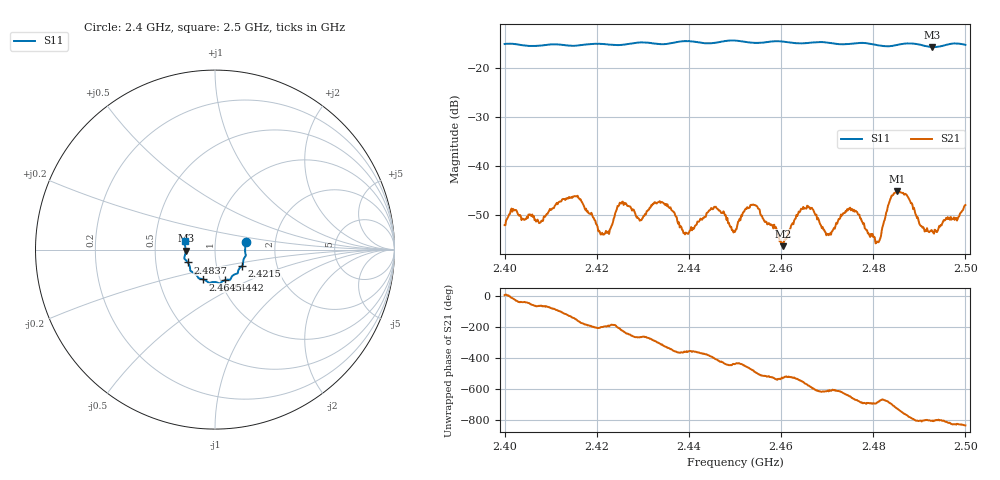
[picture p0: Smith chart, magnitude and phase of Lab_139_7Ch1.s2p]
# Hz S RI R 50
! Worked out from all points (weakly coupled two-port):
!   601 points, 2.4 GHz to 2.5 GHz, reference 50 ohm
!   highest |S21| = -45.12 dB at 2.4852 GHz (marker M1); lowest = -56.4 dB at 2.4605 GHz (marker M2)
!   lowest |S11| = -15.7 dB at 2.4928 GHz (marker M3), VSWR 1.39, Z = 36 - j0.385 ohm
!   |S11| at or under -10 dB: start of sweep to end of sweep
!   S12 and S22 are empty: the file has one direction only
!   S11 on the Smith chart (normalised r, x): 2.4 GHz: 1.41, +0.12; 2.4215 GHz: 1.33, -0.25; 2.4442 GHz: 1.05, -0.37; 2.4645 GHz: 0.83, -0.29; 2.4837 GHz: 0.73, -0.11; 2.5 GHz: 0.71, +0.07
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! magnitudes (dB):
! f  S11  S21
! 2.4 GHz  -15.1  -52.1
! 2.4018 GHz  -15.1  -48.8
! 2.4167 GHz  -15.3  -47.2
! 2.4215 GHz  -15.1  -54.0
! 2.4252 GHz  -15.3  -47.6
! 2.4295 GHz  -14.8  -51.0
! 2.4333 GHz  -15.1  -47.4
! 2.4393 GHz  -14.5  -53.6
! 2.4442 GHz  -15.0  -49.4
! 2.45 GHz  -14.4  -53.4
! 2.4542 GHz  -14.9  -48.0
! 2.4605 GHz  -14.6  -56.4
! 2.4645 GHz  -15.0  -48.7
! 2.4667 GHz  -14.8  -48.5
! 2.4703 GHz  -14.8  -54.1
! 2.4758 GHz  -15.0  -49.0
! 2.481 GHz  -15.3  -55.5
! 2.4833 GHz  -15.6  -47.8
! 2.4837 GHz  -15.5  -46.9
! 2.4852 GHz  -15.3  -45.1
! 2.4928 GHz  -15.7  -53.4
! 2.5 GHz  -15.3  -48.0
